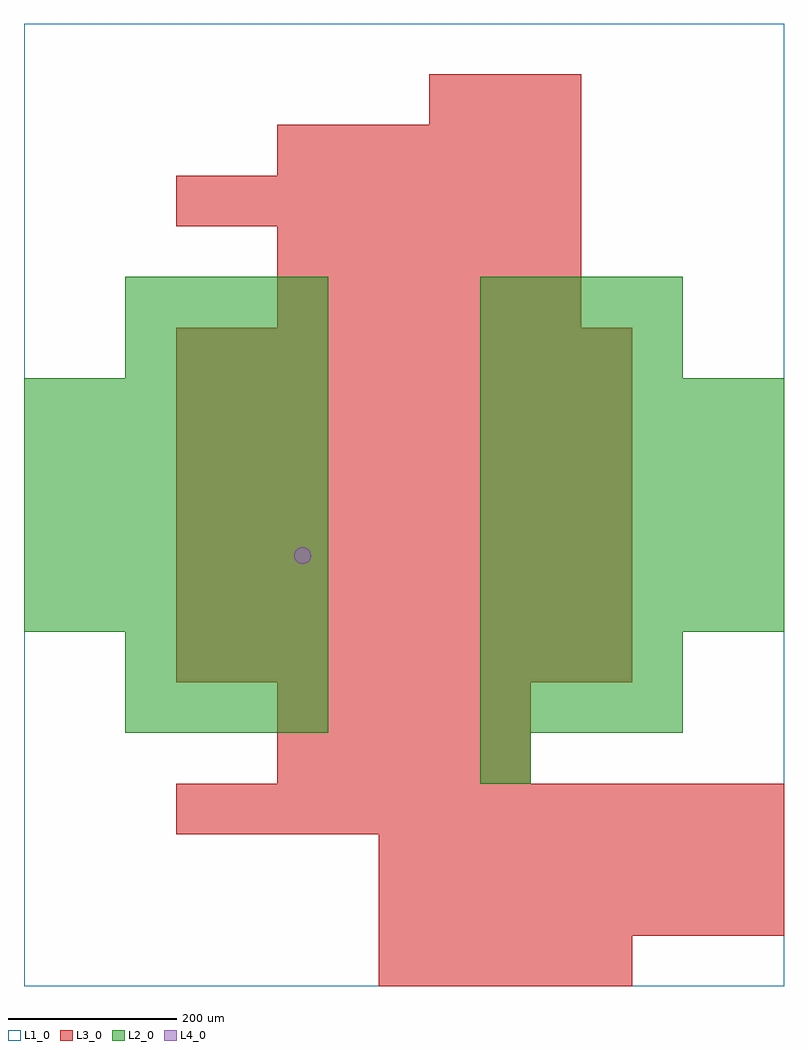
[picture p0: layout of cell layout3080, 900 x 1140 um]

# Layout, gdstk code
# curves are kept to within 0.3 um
import gdstk
lib = gdstk.Library(unit=1e-6, precision=1e-09)
def R(c, l, rs):  # rectangles x0, y0, x1, y1
    for r in rs: c.add(gdstk.rectangle(r[:2], r[2:], *l))
def A(c, l, x, y, w, h, nx, ny, dx, dy):  # array of equal rectangles
    R(c, l, [(x+i*dx, y+j*dy, x+i*dx+w, y+j*dy+h) for i in range(nx) for j in range(ny)])
def P(c, l, *ps):  # polygons
    for p in ps: c.add(gdstk.Polygon(p, *l))
L1_0 = (1, 0)
L2_0 = (2, 0)
L3_0 = (3, 0)
L4_0 = (4, 0)

layout3080 = lib.new_cell('layout3080')
R(layout3080, L1_0, [(0,0,900,1140)])
A(layout3080, L2_0, 120, 300, 60, 60, 4, 2, 60, 60)
A(layout3080, L2_0, 540, 300, 60, 60, 4, 2, 60, 60)
A(layout3080, L2_0, 0, 420, 60, 60, 6, 5, 60, 60)
A(layout3080, L2_0, 540, 420, 60, 60, 6, 5, 60, 60)
A(layout3080, L2_0, 120, 720, 60, 60, 4, 2, 60, 60)
A(layout3080, L2_0, 540, 720, 60, 60, 4, 2, 60, 60)
R(layout3080, L2_0, [(540,240,600,300)])
A(layout3080, L3_0, 420, 0, 60, 60, 5, 1, 60, 0)
A(layout3080, L3_0, 420, 60, 60, 60, 8, 2, 60, 60)
A(layout3080, L3_0, 180, 180, 60, 60, 12, 1, 60, 0)
A(layout3080, L3_0, 300, 240, 60, 60, 5, 2, 60, 60)
A(layout3080, L3_0, 180, 360, 60, 60, 9, 7, 60, 60)
A(layout3080, L3_0, 300, 780, 60, 60, 6, 2, 60, 60)
A(layout3080, L3_0, 180, 900, 60, 60, 8, 1, 60, 0)
A(layout3080, L3_0, 300, 960, 60, 60, 6, 1, 60, 0)
A(layout3080, L3_0, 480, 1020, 60, 60, 3, 1, 60, 0)
P(layout3080, L4_0, [(340,510),(339.239,513.827),(337.071,517.071),(333.827,519.239),(330,520),(326.173,519.239),(322.929,517.071),(320.761,513.827),(320,510),(320.761,506.173),(322.929,502.929),(326.173,500.761),(330,500),(333.827,500.761),(337.071,502.929),(339.239,506.173)])

lib.write_gds('layout3080.gds')
